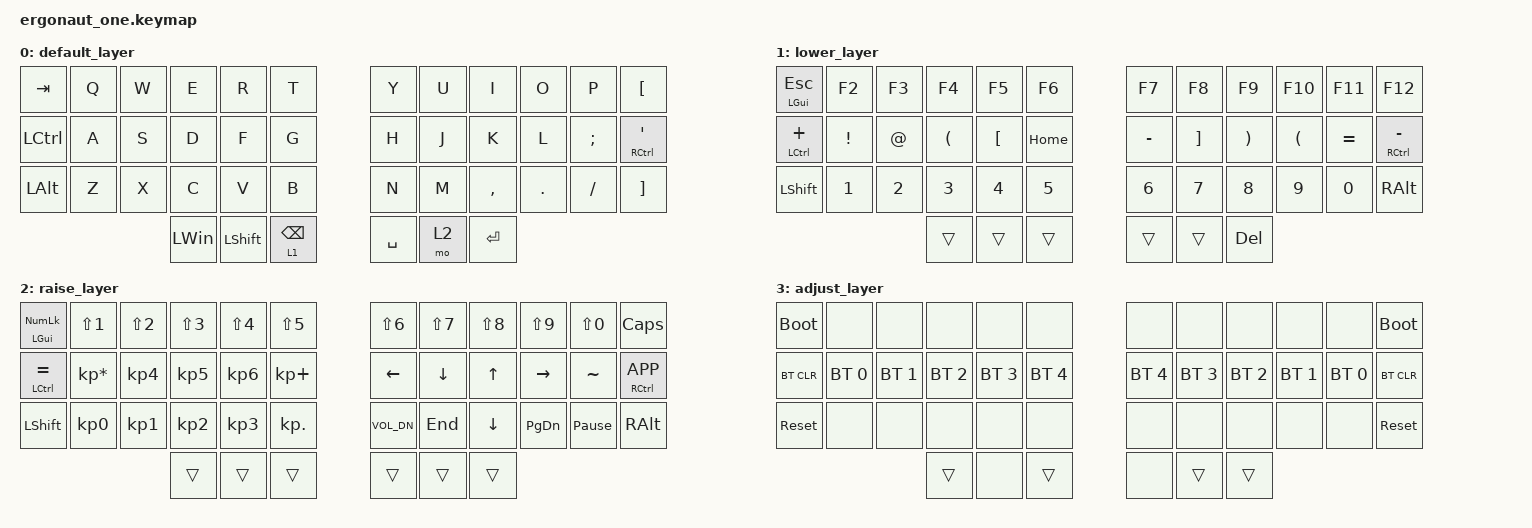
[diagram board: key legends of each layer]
#include <behaviors.dtsi>
#include <dt-bindings/zmk/bt.h>
#include <dt-bindings/zmk/keys.h>

#define DEF 0
#define LWR 1
#define RSE 2
#define ADJ 3

&lt { quick-tap-ms = <200>; };

&mt { quick-tap-ms = <200>; };

/ {
    conditional_layers {
        compatible = "zmk,conditional-layers";

        tri-layer {
            if-layers = <1 2>;
            then-layer = <3>;
        };
    };

    keymap {
        compatible = "zmk,keymap";

        default_layer {
            bindings = <
&kp TAB    &kp Q  &kp W  &kp E         &kp R      &kp T            &kp Y      &kp U  &kp I      &kp O    &kp P     &kp LBKT
&kp LCTRL  &kp A  &kp S  &kp D         &kp F      &kp G            &kp H      &kp J  &kp K      &kp L    &kp SEMI  &mt RCTRL SQT
&kp LALT   &kp Z  &kp X  &kp C         &kp V      &kp B            &kp N      &kp M  &kp COMMA  &kp DOT  &kp FSLH  &kp RIGHT_BRACKET
                         &kp LEFT_WIN  &kp LSHFT  &lt 1 BACKSPACE  &kp SPACE  &mo 2  &kp ENTER
            >;
        };

        lower_layer {
            bindings = <
&mt LGUI ESCAPE  &kp F2    &kp F3  &kp F4                &kp F5            &kp F6    &kp F7     &kp F8             &kp F9                 &kp F10   &kp F11    &kp F12
&mt LCTRL PLUS   &kp EXCL  &kp AT  &kp LEFT_PARENTHESIS  &kp LEFT_BRACKET  &kp HOME  &kp MINUS  &kp RIGHT_BRACKET  &kp RIGHT_PARENTHESIS  &kp LPAR  &kp EQUAL  &mt RCTRL MINUS
&kp LEFT_SHIFT   &kp N1    &kp N2  &kp N3                &kp N4            &kp N5    &kp N6     &kp N7             &kp N8                 &kp N9    &kp N0     &kp RALT
                                   &trans                &trans            &trans    &trans     &trans             &kp DELETE
            >;
        };

        raise_layer {
            bindings = <
&mt LGUI KP_NUM  &kp LS(NUMBER_1)  &kp LS(NUMBER_2)  &kp LS(NUMBER_3)  &kp LS(NUMBER_4)  &kp LS(N5)   &kp LS(NUMBER_6)  &kp LS(N7)  &kp LS(N8)  &kp LS(N9)  &kp LS(N0)       &kp CLCK
&mt LCTRL EQUAL  &kp KP_MULTIPLY   &kp KP_N4         &kp KP_N5         &kp KP_N6         &kp KP_PLUS  &kp LEFT          &kp DOWN    &kp UP      &kp RIGHT   &kp TILDE        &mt RCTRL K_APP
&kp LEFT_SHIFT   &kp KP_N0         &kp KP_N1         &kp KP_N2         &kp KP_N3         &kp KP_DOT   &kp C_VOL_DN      &kp END     &kp DOWN    &kp PG_DN   &kp PAUSE_BREAK  &kp RALT
                                                     &trans            &trans            &trans       &trans            &trans      &trans
            >;
        };

        adjust_layer {
            bindings = <
&bootloader  &none         &none         &none         &none         &none         &none         &none         &none         &none         &none         &bootloader
&bt BT_CLR   &bt BT_SEL 0  &bt BT_SEL 1  &bt BT_SEL 2  &bt BT_SEL 3  &bt BT_SEL 4  &bt BT_SEL 4  &bt BT_SEL 3  &bt BT_SEL 2  &bt BT_SEL 1  &bt BT_SEL 0  &bt BT_CLR
&sys_reset   &none         &none         &none         &none         &none         &none         &none         &none         &none         &none         &sys_reset
                                         &trans        &none         &trans        &none         &trans        &trans
            >;
        };
    };
};
